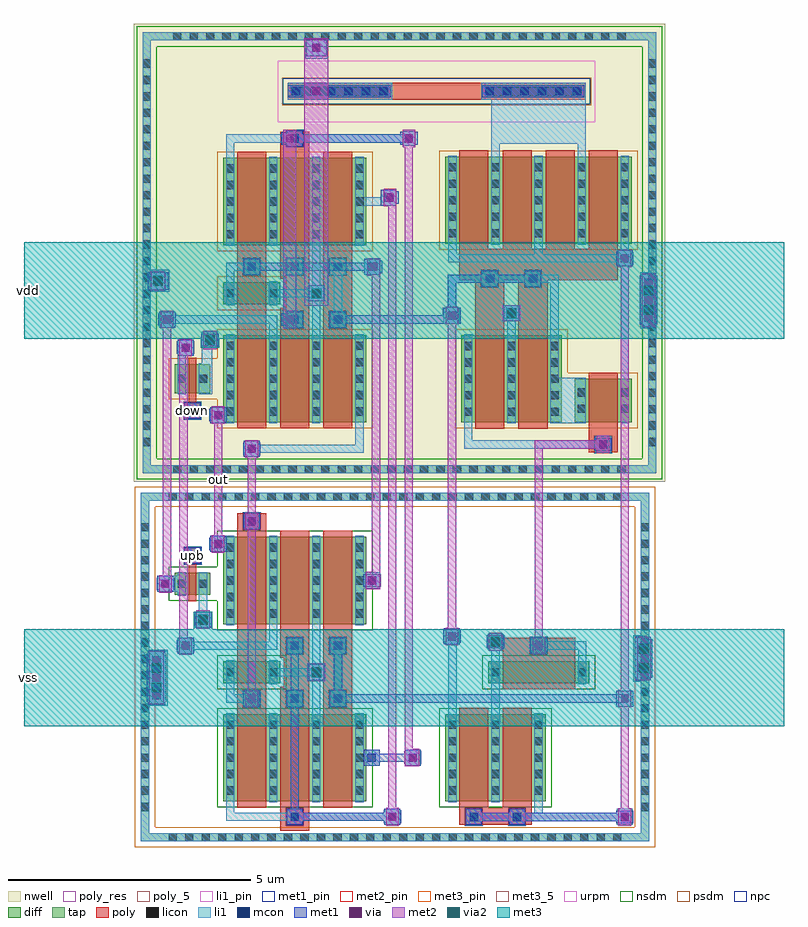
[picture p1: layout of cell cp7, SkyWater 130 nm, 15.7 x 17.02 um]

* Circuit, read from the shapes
.subckt cp7 down out upb vdd vss
XM1 vss upb sky130_fd_pr__nfet_01v8_PU4Y8N_11/d vss sky130_fd_pr__nfet_01v8 w=0.45 l=0.15
XM2 sky130_fd_pr__nfet_01v8_ZJWC73_12/d sky130_fd_pr__nfet_01v8_4NLQMD_5/d sky130_fd_pr__nfet_01v8_ZJWC73_13/d vss sky130_fd_pr__nfet_01v8 w=1.8 l=0.6
XM3 vss sky130_fd_pr__nfet_01v8_4NLQMD_5/d sky130_fd_pr__nfet_01v8_4NLQMD_5/d vss sky130_fd_pr__nfet_01v8 w=0.45 l=0.6
XM4 sky130_fd_pr__nfet_01v8_ZJWC73_15/d sky130_fd_pr__nfet_01v8_4NLQMD_5/d out vss sky130_fd_pr__nfet_01v8 w=1.8 l=0.6
XM5 vss sky130_fd_pr__nfet_01v8_ZJWC73_13/d sky130_fd_pr__nfet_01v8_ZJWC73_12/d vss sky130_fd_pr__nfet_01v8 w=1.8 l=0.6
XM6 vss sky130_fd_pr__nfet_01v8_ZJWC73_13/d sky130_fd_pr__nfet_01v8_ZJWC73_15/d vss sky130_fd_pr__nfet_01v8 w=1.8 l=0.6
XM7 sky130_fd_pr__nfet_01v8_ZJWC73_1/d sky130_fd_pr__nfet_01v8_ZJWC73_1/g vss vss sky130_fd_pr__nfet_01v8 w=1.8 l=0.6
XM8 sky130_fd_pr__nfet_01v8_ZJWC73_2/d sky130_fd_pr__nfet_01v8_ZJWC73_1/g vss vss sky130_fd_pr__nfet_01v8 w=1.8 l=0.6
XM9 vss sky130_fd_pr__nfet_01v8_ZJWC73_1/g sky130_fd_pr__pfet_01v8_AH2TBC_0/g vss sky130_fd_pr__nfet_01v8 w=1.8 l=0.6
XM10 sky130_fd_pr__nfet_01v8_ZJWC73_1/g sky130_fd_pr__nfet_01v8_ZJWC73_1/g vss vss sky130_fd_pr__nfet_01v8 w=1.8 l=0.6
XM11 bias2_16/sky130_fd_pr__nfet_01v8_HE5L4J_2/d bias2_16/sky130_fd_pr__nfet_01v8_HE5L4J_2/d vss vss sky130_fd_pr__nfet_01v8 w=0.45 l=1.5
XM12 vdd down sky130_fd_pr__nfet_01v8_ZJWC73_15/d vdd sky130_fd_pr__pfet_01v8 w=0.6 l=0.15
XM13 sky130_fd_pr__nfet_01v8_PU4Y8N_11/d sky130_fd_pr__nfet_01v8_ZJWC73_2/d out vdd sky130_fd_pr__pfet_01v8 w=1.8 l=0.6
XM14 vdd sky130_fd_pr__nfet_01v8_ZJWC73_2/d sky130_fd_pr__nfet_01v8_ZJWC73_2/d vdd sky130_fd_pr__pfet_01v8 w=0.45 l=0.6
XM15 sky130_fd_pr__pfet_01v8_AH2TBC_7/d sky130_fd_pr__nfet_01v8_ZJWC73_2/d sky130_fd_pr__nfet_01v8_ZJWC73_1/d vdd sky130_fd_pr__pfet_01v8 w=1.8 l=0.6
XM16 vdd sky130_fd_pr__nfet_01v8_ZJWC73_1/d sky130_fd_pr__nfet_01v8_PU4Y8N_11/d vdd sky130_fd_pr__pfet_01v8 w=1.8 l=0.6
XM17 vdd sky130_fd_pr__nfet_01v8_ZJWC73_1/d sky130_fd_pr__pfet_01v8_AH2TBC_7/d vdd sky130_fd_pr__pfet_01v8 w=1.8 l=0.6
XM18 sky130_fd_pr__nfet_01v8_4NLQMD_5/d sky130_fd_pr__pfet_01v8_AH2TBC_0/g vdd vdd sky130_fd_pr__pfet_01v8 w=1.8 l=0.6
XM19 sky130_fd_pr__nfet_01v8_ZJWC73_13/d sky130_fd_pr__pfet_01v8_AH2TBC_0/g vdd vdd sky130_fd_pr__pfet_01v8 w=1.8 l=0.6
XM20 bias2_16/sky130_fd_pr__res_xhigh_po_0p35_QBQWER_0/r0 sky130_fd_pr__pfet_01v8_AH2TBC_0/g sky130_fd_pr__nfet_01v8_ZJWC73_1/g vdd sky130_fd_pr__pfet_01v8 w=1.8 l=0.6 m=4
XM21 vdd sky130_fd_pr__pfet_01v8_AH2TBC_0/g bias2_16/sky130_fd_pr__nfet_01v8_HE5L4J_2/d vdd sky130_fd_pr__pfet_01v8 w=1.8 l=0.6
XM22 sky130_fd_pr__pfet_01v8_AH2TBC_0/g sky130_fd_pr__pfet_01v8_AH2TBC_0/g vdd vdd sky130_fd_pr__pfet_01v8 w=1.8 l=0.6
XM23 sky130_fd_pr__nfet_01v8_ZJWC73_1/g bias2_16/sky130_fd_pr__nfet_01v8_HE5L4J_2/d sky130_fd_pr__pfet_01v8_AH2TBC_0/g vdd sky130_fd_pr__pfet_01v8 w=0.9 l=0.6
XR24 bias2_16/sky130_fd_pr__res_xhigh_po_0p35_QBQWER_0/r0 vdd vss sky130_fd_pr__res_xhigh_po w=0.35 l=1.88
.ends

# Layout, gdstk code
from math import pi, radians
import gdstk
lib = gdstk.Library(unit=1e-6, precision=1e-09)
def R(c, l, rs):  # rectangles x0, y0, x1, y1
    for r in rs: c.add(gdstk.rectangle(r[:2], r[2:], *l))
def A(c, l, x, y, w, h, nx, ny, dx, dy):  # array of equal rectangles
    R(c, l, [(x+i*dx, y+j*dy, x+i*dx+w, y+j*dy+h) for i in range(nx) for j in range(ny)])
nwell = (64, 20)
diff = (65, 20)
tap = (65, 44)
poly_5 = (66, 5)
poly_res = (66, 13)
poly = (66, 20)
licon = (66, 44)
li1_pin = (67, 16)
li1 = (67, 20)
mcon = (67, 44)
met1_pin = (68, 16)
met1 = (68, 20)
via = (68, 44)
met2_pin = (69, 16)
met2 = (69, 20)
via2 = (69, 44)
met3_5 = (70, 5)
met3_pin = (70, 16)
met3 = (70, 20)
urpm = (79, 20)
nsdm = (93, 44)
psdm = (94, 20)
npc = (95, 20)

sky130_fd_pr__pfet_01v8_ = lib.new_cell('sky130_fd_pr__pfet_01v8_AH2TBC')
R(sky130_fd_pr__pfet_01v8_, nwell, [(-0.77,-1.21,0.77,1.21)])
R(sky130_fd_pr__pfet_01v8_, diff, [(-0.59,-0.9,0.59,0.9)])
R(sky130_fd_pr__pfet_01v8_, poly_5, [(-0.3,-0.9,0.3,0.9)])
R(sky130_fd_pr__pfet_01v8_, poly, [(-0.3,-1.03,0.3,1.03)])
A(sky130_fd_pr__pfet_01v8_, licon, -0.53, -0.765, 0.17, 0.17, 1, 5, 0, 0.34)
A(sky130_fd_pr__pfet_01v8_, licon, 0.36, -0.765, 0.17, 0.17, 1, 5, 0, 0.34)
R(sky130_fd_pr__pfet_01v8_, li1, [(-0.53,-0.92,-0.36,0.92), (0.36,-0.92,0.53,0.92)])
R(sky130_fd_pr__pfet_01v8_, psdm, [(-0.715,-1.025,0.715,1.025)])
sky130_fd_pr__pfet_01v8_.add(gdstk.Label('d', (-0.445,0), layer=67, texttype=5))
sky130_fd_pr__pfet_01v8_.add(gdstk.Label('s', (0.445,0), layer=67, texttype=5))
sky130_fd_pr__pfet_01v8_.add(gdstk.Label('g', (0,0), layer=66, texttype=5))

sky130_fd_pr__nfet_01v8_ = lib.new_cell('sky130_fd_pr__nfet_01v8_ZJWC73')
R(sky130_fd_pr__nfet_01v8_, diff, [(-0.59,-0.9,0.59,0.9)])
R(sky130_fd_pr__nfet_01v8_, poly_5, [(-0.3,-0.9,0.3,0.9)])
R(sky130_fd_pr__nfet_01v8_, poly, [(-0.3,-1.03,0.3,1.03)])
A(sky130_fd_pr__nfet_01v8_, licon, -0.53, -0.765, 0.17, 0.17, 1, 5, 0, 0.34)
A(sky130_fd_pr__nfet_01v8_, licon, 0.36, -0.765, 0.17, 0.17, 1, 5, 0, 0.34)
R(sky130_fd_pr__nfet_01v8_, li1, [(-0.53,-0.92,-0.36,0.92), (0.36,-0.92,0.53,0.92)])
R(sky130_fd_pr__nfet_01v8_, nsdm, [(-0.715,-1.025,0.715,1.025)])
sky130_fd_pr__nfet_01v8_.add(gdstk.Label('d', (-0.445,0), layer=67, texttype=5))
sky130_fd_pr__nfet_01v8_.add(gdstk.Label('s', (0.445,0), layer=67, texttype=5))
sky130_fd_pr__nfet_01v8_.add(gdstk.Label('g', (0,0), layer=66, texttype=5))

c_sky130_fd_pr__pfet_01v8_ = lib.new_cell('sky130_fd_pr__pfet_01v8_W2SF2B')
R(c_sky130_fd_pr__pfet_01v8_, nwell, [(-0.77,-0.535,0.77,0.535)])
R(c_sky130_fd_pr__pfet_01v8_, diff, [(-0.59,-0.225,0.59,0.225)])
R(c_sky130_fd_pr__pfet_01v8_, poly_5, [(-0.3,-0.225,0.3,0.225)])
R(c_sky130_fd_pr__pfet_01v8_, poly, [(-0.3,-0.355,0.3,0.355)])
R(c_sky130_fd_pr__pfet_01v8_, licon, [(-0.53,-0.085,-0.36,0.085), (0.36,-0.085,0.53,0.085)])
R(c_sky130_fd_pr__pfet_01v8_, li1, [(-0.53,-0.245,-0.36,0.245), (0.36,-0.245,0.53,0.245)])
R(c_sky130_fd_pr__pfet_01v8_, psdm, [(-0.715,-0.35,0.715,0.35)])
c_sky130_fd_pr__pfet_01v8_.add(gdstk.Label('d', (-0.445,0), layer=67, texttype=5))
c_sky130_fd_pr__pfet_01v8_.add(gdstk.Label('s', (0.445,0), layer=67, texttype=5))
c_sky130_fd_pr__pfet_01v8_.add(gdstk.Label('g', (0,0), layer=66, texttype=5))

c_sky130_fd_pr__nfet_01v8_ = lib.new_cell('sky130_fd_pr__nfet_01v8_4NLQMD')
R(c_sky130_fd_pr__nfet_01v8_, diff, [(-0.59,-0.225,0.59,0.225)])
R(c_sky130_fd_pr__nfet_01v8_, poly_5, [(-0.3,-0.225,0.3,0.225)])
R(c_sky130_fd_pr__nfet_01v8_, poly, [(-0.3,-0.355,0.3,0.355)])
R(c_sky130_fd_pr__nfet_01v8_, licon, [(-0.53,-0.085,-0.36,0.085), (0.36,-0.085,0.53,0.085)])
R(c_sky130_fd_pr__nfet_01v8_, li1, [(-0.53,-0.245,-0.36,0.245), (0.36,-0.245,0.53,0.245)])
R(c_sky130_fd_pr__nfet_01v8_, nsdm, [(-0.715,-0.35,0.715,0.35)])
c_sky130_fd_pr__nfet_01v8_.add(gdstk.Label('d', (-0.445,0), layer=67, texttype=5))
c_sky130_fd_pr__nfet_01v8_.add(gdstk.Label('s', (0.445,0), layer=67, texttype=5))
c_sky130_fd_pr__nfet_01v8_.add(gdstk.Label('g', (0,0), layer=66, texttype=5))

c_sky130_fd_pr__pfet_01v8__ = lib.new_cell('sky130_fd_pr__pfet_01v8_58PGBE')
R(c_sky130_fd_pr__pfet_01v8__, nwell, [(-0.545,-0.61,0.545,0.61)])
R(c_sky130_fd_pr__pfet_01v8__, diff, [(-0.365,-0.3,0.365,0.3)])
R(c_sky130_fd_pr__pfet_01v8__, poly_5, [(-0.075,-0.3,0.075,0.3)])
R(c_sky130_fd_pr__pfet_01v8__, poly, [(-0.075,-0.43,0.075,0.43)])
R(c_sky130_fd_pr__pfet_01v8__, licon, [(-0.305,-0.085,-0.135,0.085), (0.135,-0.085,0.305,0.085)])
R(c_sky130_fd_pr__pfet_01v8__, li1, [(-0.305,-0.32,-0.135,0.32), (0.135,-0.32,0.305,0.32)])
R(c_sky130_fd_pr__pfet_01v8__, psdm, [(-0.49,-0.425,0.49,0.425)])
c_sky130_fd_pr__pfet_01v8__.add(gdstk.Label('d', (-0.22,0), layer=67, texttype=5))
c_sky130_fd_pr__pfet_01v8__.add(gdstk.Label('s', (0.22,0), layer=67, texttype=5))
c_sky130_fd_pr__pfet_01v8__.add(gdstk.Label('g', (0,0), layer=66, texttype=5))

c_sky130_fd_pr__nfet_01v8__ = lib.new_cell('sky130_fd_pr__nfet_01v8_PU4Y8N')
R(c_sky130_fd_pr__nfet_01v8__, diff, [(-0.365,-0.225,0.365,0.225)])
R(c_sky130_fd_pr__nfet_01v8__, poly_5, [(-0.075,-0.225,0.075,0.225)])
R(c_sky130_fd_pr__nfet_01v8__, poly, [(-0.075,-0.355,0.075,0.355)])
R(c_sky130_fd_pr__nfet_01v8__, licon, [(-0.305,-0.085,-0.135,0.085), (0.135,-0.085,0.305,0.085)])
R(c_sky130_fd_pr__nfet_01v8__, li1, [(-0.305,-0.245,-0.135,0.245), (0.135,-0.245,0.305,0.245)])
R(c_sky130_fd_pr__nfet_01v8__, nsdm, [(-0.49,-0.35,0.49,0.35)])
c_sky130_fd_pr__nfet_01v8__.add(gdstk.Label('d', (-0.22,0), layer=67, texttype=5))
c_sky130_fd_pr__nfet_01v8__.add(gdstk.Label('s', (0.22,0), layer=67, texttype=5))
c_sky130_fd_pr__nfet_01v8__.add(gdstk.Label('g', (0,0), layer=66, texttype=5))

sky130_fd_pr__res_xhigh_ = lib.new_cell('sky130_fd_pr__res_xhigh_po_0p35_QBQWER')
R(sky130_fd_pr__res_xhigh_, nwell, [(-0.435,-3.34,0.435,3.34)])
R(sky130_fd_pr__res_xhigh_, poly_res, [(-0.175,-1,0.175,1)])
R(sky130_fd_pr__res_xhigh_, poly, [(-0.175,-3.08,0.175,3.08)])
R(sky130_fd_pr__res_xhigh_, licon, [(-0.095,-3,0.095,-1), (-0.095,1,0.095,3)])
R(sky130_fd_pr__res_xhigh_, li1, [(-0.175,-3.08,0.175,-0.92), (-0.175,0.92,0.175,3.08)])
A(sky130_fd_pr__res_xhigh_, mcon, -0.085, -2.985, 0.17, 0.17, 1, 6, 0, 0.36)
A(sky130_fd_pr__res_xhigh_, mcon, -0.085, 1.01, 0.17, 0.17, 1, 6, 0, 0.36)
R(sky130_fd_pr__res_xhigh_, met1, [(-0.125,-3.05,0.125,-0.945), (-0.125,0.945,0.125,3.05)])
R(sky130_fd_pr__res_xhigh_, urpm, [(-0.635,-3.28,0.635,3.28)])
R(sky130_fd_pr__res_xhigh_, psdm, [(-0.285,-3.19,0.285,3.19)])
R(sky130_fd_pr__res_xhigh_, npc, [(-0.27,-3.175,0.27,3.175)])
sky130_fd_pr__res_xhigh_.add(gdstk.Label('r0', (0,2.905), layer=68, texttype=5))
sky130_fd_pr__res_xhigh_.add(gdstk.Label('r1', (0,-2.905), layer=68, texttype=5))

c_sky130_fd_pr__pfet_01v8___ = lib.new_cell('sky130_fd_pr__pfet_01v8_EP2VBC')
R(c_sky130_fd_pr__pfet_01v8___, nwell, [(-0.77,-0.76,0.77,0.76)])
R(c_sky130_fd_pr__pfet_01v8___, diff, [(-0.59,-0.45,0.59,0.45)])
R(c_sky130_fd_pr__pfet_01v8___, poly_5, [(-0.3,-0.45,0.3,0.45)])
R(c_sky130_fd_pr__pfet_01v8___, poly, [(-0.3,-0.58,0.3,0.58)])
R(c_sky130_fd_pr__pfet_01v8___, licon, [(-0.53,-0.255,-0.36,-0.085), (0.36,-0.255,0.53,-0.085), (-0.53,0.085,-0.36,0.255), (0.36,0.085,0.53,0.255)])
R(c_sky130_fd_pr__pfet_01v8___, li1, [(-0.53,-0.47,-0.36,0.47), (0.36,-0.47,0.53,0.47)])
R(c_sky130_fd_pr__pfet_01v8___, psdm, [(-0.715,-0.575,0.715,0.575)])
c_sky130_fd_pr__pfet_01v8___.add(gdstk.Label('d', (-0.445,0), layer=67, texttype=5))
c_sky130_fd_pr__pfet_01v8___.add(gdstk.Label('s', (0.445,0), layer=67, texttype=5))
c_sky130_fd_pr__pfet_01v8___.add(gdstk.Label('g', (0,0), layer=66, texttype=5))

c_sky130_fd_pr__nfet_01v8___ = lib.new_cell('sky130_fd_pr__nfet_01v8_HE5L4J')
R(c_sky130_fd_pr__nfet_01v8___, diff, [(-1.04,-0.225,1.04,0.225)])
R(c_sky130_fd_pr__nfet_01v8___, poly_5, [(-0.75,-0.225,0.75,0.225)])
R(c_sky130_fd_pr__nfet_01v8___, poly, [(-0.75,-0.355,0.75,0.355)])
R(c_sky130_fd_pr__nfet_01v8___, licon, [(-0.98,-0.085,-0.81,0.085), (0.81,-0.085,0.98,0.085)])
R(c_sky130_fd_pr__nfet_01v8___, li1, [(-0.98,-0.245,-0.81,0.245), (0.81,-0.245,0.98,0.245)])
R(c_sky130_fd_pr__nfet_01v8___, nsdm, [(-1.165,-0.35,1.165,0.35)])
c_sky130_fd_pr__nfet_01v8___.add(gdstk.Label('d', (-0.895,0), layer=67, texttype=5))
c_sky130_fd_pr__nfet_01v8___.add(gdstk.Label('s', (0.895,0), layer=67, texttype=5))
c_sky130_fd_pr__nfet_01v8___.add(gdstk.Label('g', (0,0), layer=66, texttype=5))

c_sky130_fd_pr__pfet_01v8____ = lib.new_cell('sky130_fd_pr__pfet_01v8_AH6ZBC')
R(c_sky130_fd_pr__pfet_01v8____, nwell, [(-2.105,-1.21,2.105,1.21)])
R(c_sky130_fd_pr__pfet_01v8____, diff, [(-1.925,-0.9,1.925,0.9)])
A(c_sky130_fd_pr__pfet_01v8____, poly_5, -1.635, -0.9, 0.6, 1.8, 4, 1, 0.89, 0)
A(c_sky130_fd_pr__pfet_01v8____, poly, -1.635, -1.03, 0.6, 2.06, 4, 1, 0.89, 0)
A(c_sky130_fd_pr__pfet_01v8____, licon, -1.865, -0.765, 0.17, 0.17, 5, 5, 0.89, 0.34)
A(c_sky130_fd_pr__pfet_01v8____, li1, -1.865, -0.92, 0.17, 1.84, 5, 1, 0.89, 0)
R(c_sky130_fd_pr__pfet_01v8____, psdm, [(-2.05,-1.025,2.05,1.025)])
c_sky130_fd_pr__pfet_01v8____.add(gdstk.Label('d', (-1.78,0), layer=67, texttype=5))
c_sky130_fd_pr__pfet_01v8____.add(gdstk.Label('g', (-1.335,0), layer=66, texttype=5))
c_sky130_fd_pr__pfet_01v8____.add(gdstk.Label('s', (-0.89,0), layer=67, texttype=5))
c_sky130_fd_pr__pfet_01v8____.add(gdstk.Label('g', (-0.445,0), layer=66, texttype=5))
c_sky130_fd_pr__pfet_01v8____.add(gdstk.Label('d', (0,0), layer=67, texttype=5))
c_sky130_fd_pr__pfet_01v8____.add(gdstk.Label('g', (0.445,0), layer=66, texttype=5))
c_sky130_fd_pr__pfet_01v8____.add(gdstk.Label('d', (1.78,0), layer=67, texttype=5))
c_sky130_fd_pr__pfet_01v8____.add(gdstk.Label('s', (0.89,0), layer=67, texttype=5))
c_sky130_fd_pr__pfet_01v8____.add(gdstk.Label('g', (1.335,0), layer=66, texttype=5))

bias2 = lib.new_cell('bias2')
A(bias2, poly, -0.7, 5.2, 0.6, 2.03, 4, 1, 0.89, 0)
R(bias2, poly, [(-0.7,-6.705,0.79,-6.345), (-0.7,-6.345,-0.1,-4.415), (0.19,-6.345,0.79,-4.415), (0.19,-3.905,1.69,-2.835), (1.97,0.99,2.57,2.51), (-0.37,1.48,0.23,4.545), (0.52,1.61,1.12,4.545), (-0.7,4.545,2.57,5.2)])
R(bias2, licon, [(-0.485,-6.625,-0.315,-6.455), (0.405,-6.625,0.575,-6.455), (0.855,-3.085,1.025,-2.915), (2.185,1.07,2.355,1.24), (-0.155,4.495,0.015,4.665), (0.735,4.495,0.905,4.665)])
R(bias2, li1_pin, [(-0.04,-3.55,0.13,-3.38)])
R(bias2, li1, [(-0.565,-6.705,-0.235,-6.625), (0.325,-6.705,0.655,-6.625), (-0.565,-6.625,2.8,-6.455), (-0.565,-6.455,-0.235,-6.375), (0.325,-6.455,0.655,-6.375), (0.85,-6.455,1.02,-4.475), (-0.93,-6.235,-0.76,-2.975), (-0.04,-6.235,0.13,-3.305), (1.75,-3.795,1.92,-3.085), (0.775,-3.165,1.105,-3.085), (0.775,-3.085,1.92,-2.915), (-1.02,-2.975,-0.69,-2.645), (0.775,-2.915,1.105,-2.835), (2.105,0.99,2.435,1.07), (-0.6,1.07,2.435,1.24), (-0.6,1.24,-0.43,3.43), (2.105,1.24,2.435,1.32), (1.18,1.59,1.91,2.53), (0.29,1.67,0.46,3.35), (2.63,1.67,2.8,4.835), (1.18,2.53,1.35,4.495), (-1.02,3.65,-0.69,3.98), (-0.94,3.98,-0.77,4.495), (-0.235,4.415,0.095,4.495), (0.655,4.415,0.985,4.495), (-0.94,4.495,1.35,4.665), (-0.235,4.665,0.095,4.745), (0.655,4.665,0.985,4.745), (2.55,4.835,2.88,4.915), (-0.93,4.915,2.88,5.085), (-0.93,5.085,-0.76,7.12), (0.85,5.085,1.02,7.12), (2.55,5.085,2.88,5.165), (2.63,5.165,2.8,7.12), (-0.04,5.28,0.13,7.37), (1.74,5.28,1.91,7.37), (-0.04,7.37,1.91,8.275), (-0.25,8.275,1.91,8.625)])
R(bias2, mcon, [(2.63,-6.625,2.8,-6.455), (0.855,-3.085,1.025,-2.915), (-0.94,-2.895,-0.77,-2.725), (2.185,1.07,2.355,1.24), (-0.94,3.73,-0.77,3.9), (2.63,4.915,2.8,5.085)])
R(bias2, met1_pin, [(2.535,-4.18,2.705,-4.01), (-0.965,3.85,-0.795,3.855), (-4.25,8.355,-4.08,8.525)])
R(bias2, met1, [(2.535,-6.67,2.895,-6.41), (2.535,-4.18,2.705,-4.01), (0.775,-3.165,1.105,-3.13), (0.76,-3.13,1.12,-2.87), (-1.02,-2.975,-0.69,-2.94), (-1.035,-2.94,-0.675,-2.68), (0.775,-2.87,1.105,-2.835), (-1.02,-2.68,-0.69,-2.645), (2.09,1.025,2.45,1.285), (-1.02,3.65,-0.69,3.685), (-1.035,3.685,-0.675,3.98), (2.55,4.835,2.88,4.87), (2.535,4.87,2.895,5.13), (2.55,5.13,2.88,5.165), (-4.25,8.355,-4.08,8.525)])
R(bias2, via, [(2.64,-6.615,2.79,-6.465), (0.865,-3.075,1.015,-2.925), (-0.93,-2.885,-0.78,-2.735), (2.195,1.08,2.345,1.23), (-0.93,3.74,-0.78,3.89), (2.64,4.925,2.79,5.075)])
R(bias2, met2, [(2.585,-6.72,2.845,-6.36), (2.63,-6.36,2.8,4.82), (0.81,-3.18,1.07,-2.82), (-0.985,-2.99,-0.725,-2.63), (0.855,-2.82,1.025,1.07), (-0.94,-2.63,-0.77,3.635), (2.14,0.975,2.4,1.07), (0.855,1.07,2.4,1.24), (2.14,1.24,2.4,1.335), (-0.985,3.635,-0.725,3.995), (2.585,4.82,2.845,5.18)])
R(bias2, psdm, [(1.535,1.485,1.555,2.635)])
R(bias2, npc, [(-0.585,-6.725,-0.215,-6.355), (0.305,-6.725,0.675,-6.355), (0.755,-3.185,1.125,-2.815), (2.085,0.97,2.455,1.34), (-0.255,4.395,0.115,4.765), (0.635,4.395,1.005,4.765)])
bias2.add(gdstk.Reference(sky130_fd_pr__res_xhigh_, (-1.17,8.45), rotation=3*pi/2))
bias2.add(gdstk.Reference(c_sky130_fd_pr__pfet_01v8___, (2.27,2.06), rotation=pi, x_reflection=True))
bias2.add(gdstk.Reference(c_sky130_fd_pr__nfet_01v8___, (0.94,-3.55), rotation=pi, x_reflection=True))
bias2.add(gdstk.Reference(sky130_fd_pr__pfet_01v8_, (-0.07,2.51), x_reflection=True))
bias2.add(gdstk.Reference(c_sky130_fd_pr__pfet_01v8____, (0.935,6.2)))
bias2.add(gdstk.Reference(sky130_fd_pr__pfet_01v8_, (0.82,2.51), rotation=pi, x_reflection=True))
bias2.add(gdstk.Reference(sky130_fd_pr__nfet_01v8_, (0.49,-5.315), rotation=pi, x_reflection=True))
bias2.add(gdstk.Reference(sky130_fd_pr__nfet_01v8_, (-0.4,-5.315)))
bias2.add(gdstk.Label('vdd', (-4.165,8.44), layer=68, texttype=5))
bias2.add(gdstk.Label('vpb', (-0.88,3.852), layer=68, texttype=5))
bias2.add(gdstk.Label('vss', (0.045,-3.465), layer=67, texttype=5))
bias2.add(gdstk.Label('vnb', (2.62,-4.095), layer=68, texttype=5))

cp7 = lib.new_cell('cp7')
R(cp7, nwell, [(-2.73,3.545,8.245,13.015)])
R(cp7, tap, [(-2.585,-3.88,7.915,-3.71), (-2.585,-3.71,-2.415,3.155), (7.745,-3.71,7.915,3.155), (-2.585,3.155,7.915,3.325), (-2.55,3.725,8.065,3.895), (-2.55,3.895,-2.38,12.665), (7.895,3.895,8.065,12.665), (-2.55,12.665,8.065,12.835)])
R(cp7, poly, [(0.295,-3.655,0.895,-0.685), (-0.595,-3.18,0.005,2.895), (1.185,-3.05,1.785,2.41), (0.37,-0.685,0.895,-0.085), (0.295,-0.085,0.895,2.41), (-1.595,1.215,-1.445,1.855), (-1.675,1.855,-1.345,2.185), (-0.595,4.65,0.005,10.24), (0.295,4.65,0.895,7.145), (1.185,4.78,1.785,10.24), (-1.685,4.85,-1.355,5.18), (-1.595,5.18,-1.445,5.98), (0.37,7.145,0.895,7.745), (0.295,7.745,0.895,10.78)])
A(cp7, licon, -2.01, -3.88, 0.17, 0.17, 28, 2, 0.34, 7.035)
A(cp7, licon, -2.585, -3.255, 0.17, 0.17, 1, 18, 0, 0.34)
A(cp7, licon, 7.745, -3.255, 0.17, 0.17, 1, 18, 0, 0.34)
A(cp7, licon, -0.38, -1.015, 0.17, 0.17, 3, 2, 0.89, 8.92)
A(cp7, licon, -1.92, 3.725, 0.17, 0.17, 28, 2, 0.34, 8.94)
A(cp7, licon, -2.55, 4.285, 0.17, 0.17, 1, 24, 0, 0.34)
A(cp7, licon, 7.895, 4.285, 0.17, 0.17, 1, 24, 0, 0.34)
R(cp7, licon, [(0.51,-3.455,0.68,-3.285), (0.51,0.075,0.68,0.245), (1.4,0.075,1.57,0.245), (-1.595,1.935,-1.425,2.105), (-0.38,2.645,-0.21,2.815), (-1.605,4.93,-1.435,5.1), (0.51,6.815,0.68,6.985), (1.4,6.815,1.57,6.985), (0.51,10.555,0.68,10.725)])
R(cp7, li1, [(-2.585,-3.88,7.915,-3.71), (-2.585,-3.71,-2.415,-1.08), (7.745,-3.71,7.915,-0.58), (7.245,-3.54,7.575,-3.21), (0.43,-3.535,0.76,-3.455), (2.445,-3.535,2.775,-3.455), (4.21,-3.46,4.38,-3.29), (5.1,-3.46,5.27,-3.29), (-0.825,-3.455,2.775,-3.285), (-0.825,-3.285,-0.655,-1.31), (0.43,-3.285,0.76,-3.205), (2.445,-3.285,2.775,-3.205), (1.845,-3.07,2.015,-2.315), (0.065,-2.99,0.235,-1.31), (0.955,-2.99,1.125,-0.47), (1.845,-2.315,2.345,-1.985), (2.865,-2.315,3.195,-1.985), (1.845,-1.985,2.015,-1.23), (-0.46,-1.095,-0.13,-1.015), (0.43,-1.095,0.76,-0.765), (1.32,-1.095,1.65,-0.765), (-2.585,-1.08,-2.035,0.08), (-0.825,-1.015,-0.13,-0.845), (-0.825,-0.845,-0.655,-0.22), (-0.46,-0.845,-0.13,-0.765), (1.4,-0.765,1.57,-0.005), (7.585,-0.58,7.915,0.38), (0.065,-0.55,0.235,-0.47), (4.655,-0.55,4.825,0.08), (0.065,-0.47,1.125,-0.3), (0.065,-0.3,0.235,-0.22), (0.955,-0.3,1.125,2.35), (-1.825,-0.005,-1.495,0.075), (0.43,-0.005,0.76,0.325), (1.32,-0.005,1.65,0.325), (-1.825,0.075,0.235,0.245), (-2.585,0.08,-2.415,3.155), (4.575,0.08,4.905,0.41), (-1.825,0.245,-1.495,0.325), (0.065,0.245,0.235,2.35), (7.745,0.38,7.915,3.155), (-1.465,0.535,-1.135,0.865), (1.845,0.59,2.015,1.345), (-0.825,0.67,-0.655,2.1), (-1.385,0.865,-1.215,1.685), (-2.245,1.275,-1.655,1.605), (1.845,1.345,2.355,1.675), (1.845,1.675,2.015,2.43), (-1.675,1.855,-1.345,2.185), (-1.155,2.1,-0.655,2.43), (-0.46,2.565,-0.13,2.895), (-2.585,3.155,7.915,3.325), (-2.55,3.725,8.065,3.895), (-2.55,3.895,-2.38,7.47), (7.895,3.895,8.065,6.72), (-0.46,4.065,-0.13,4.145), (-0.46,4.145,2.015,4.315), (-0.46,4.315,-0.13,4.395), (1.845,4.315,2.015,6.6), (-1.155,4.76,-0.655,5.09), (0.065,4.84,0.235,6.815), (0.955,4.84,1.125,7.275), (-1.685,4.85,-1.355,5.18), (-0.825,5.09,-0.655,6.52), (-1.325,5.36,-1.11,6.315), (-1.825,5.44,-1.655,6.155), (-1.825,6.155,-1.495,6.485), (-1.325,6.315,-0.995,6.645), (4.985,6.595,5.155,6.865), (7.735,6.72,8.065,7.88), (-2.21,6.735,-1.88,6.815), (0.43,6.735,0.76,7.065), (1.32,6.735,1.65,7.065), (-2.21,6.815,0.235,6.985), (4.905,6.865,5.235,7.195), (-2.21,6.985,-1.88,7.065), (1.4,7.065,1.57,7.825), (0.875,7.275,1.205,7.36), (-0.825,7.28,-0.655,7.905), (0.065,7.28,0.235,7.36), (0.065,7.36,1.205,7.53), (-2.55,7.47,-2,7.93), (0.065,7.53,0.235,7.61), (0.875,7.53,1.205,7.605), (0.955,7.605,1.125,10.18), (4.54,7.66,4.71,7.83), (5.43,7.66,5.6,7.83), (-0.46,7.825,-0.13,7.905), (0.43,7.825,0.76,8.155), (1.32,7.825,1.65,8.155), (2.025,7.825,2.355,8.155), (7.895,7.88,8.065,12.665), (-0.825,7.905,-0.13,8.075), (-2.55,7.93,-2.38,12.665), (-0.46,8.075,-0.13,8.155), (-0.825,8.5,-0.655,10.555), (0.065,8.5,0.235,10.18), (1.845,8.5,2.015,9.255), (1.845,9.255,2.695,9.425), (1.845,9.425,2.015,10.18), (2.365,9.425,2.695,9.585), (0.43,10.475,0.76,10.555), (-0.825,10.555,3.035,10.725), (0.43,10.725,3.035,10.73), (0.43,10.73,0.76,10.805), (0.81,12.285,1.27,12.665), (-2.55,12.665,8.065,12.835)])
A(cp7, mcon, -0.38, -1.015, 0.17, 0.17, 3, 1, 0.89, 0)
A(cp7, mcon, -2.35, -0.945, 0.17, 0.17, 1, 3, 0, 0.36)
A(cp7, mcon, 7.815, 6.855, 0.17, 0.17, 1, 3, 0, 0.36)
R(cp7, mcon, [(4.21,-3.46,4.38,-3.29), (5.1,-3.46,5.27,-3.29), (0.51,-3.455,0.68,-3.285), (2.525,-3.455,2.695,-3.285), (2.095,-2.235,2.265,-2.065), (2.945,-2.235,3.115,-2.065), (0.955,-0.47,1.125,-0.3), (7.665,-0.365,7.835,-0.195), (7.665,-0.005,7.835,0.165), (-1.745,0.075,-1.575,0.245), (0.51,0.075,0.68,0.245), (1.4,0.075,1.57,0.245), (4.655,0.16,4.825,0.33), (-1.385,0.615,-1.215,0.785), (-2.165,1.355,-1.995,1.525), (2.105,1.425,2.275,1.595), (-1.595,1.935,-1.425,2.105), (-1.075,2.18,-0.905,2.35), (-0.38,2.645,-0.21,2.815), (-0.38,4.145,-0.21,4.315), (-1.075,4.84,-0.905,5.01), (-1.605,4.93,-1.435,5.1), (-1.745,6.235,-1.575,6.405), (-1.245,6.395,-1.075,6.565), (-2.13,6.815,-1.96,6.985), (0.51,6.815,0.68,6.985), (1.4,6.815,1.57,6.985), (4.985,6.945,5.155,7.115), (0.955,7.355,1.125,7.525), (-2.315,7.615,-2.145,7.785), (4.54,7.66,4.71,7.83), (5.43,7.66,5.6,7.83), (-0.38,7.905,-0.21,8.075), (2.105,7.905,2.275,8.075), (2.445,9.335,2.615,9.505), (0.51,10.555,0.68,10.725), (2.865,10.555,3.035,10.725), (0.955,12.43,1.125,12.6)])
R(cp7, met1_pin, [(-1.595,1.935,-1.425,2.105), (-1.605,4.93,-1.435,5.1)])
R(cp7, met1, [(4.13,-3.54,4.46,-3.46), (5.02,-3.54,5.35,-3.46), (0.43,-3.535,0.76,-3.455), (2.445,-3.535,2.775,-3.505), (2.43,-3.505,2.79,-3.455), (4.13,-3.46,7.495,-3.29), (0.43,-3.455,2.79,-3.285), (4.13,-3.29,4.46,-3.21), (5.02,-3.29,5.35,-3.21), (0.43,-3.285,0.76,-3.205), (2.43,-3.285,2.79,-3.24), (2.445,-3.24,2.775,-3.205), (0.51,-3.205,0.68,-1.095), (2.015,-2.315,2.345,-2.235), (2.865,-2.315,3.195,-2.28), (2.85,-2.28,3.21,-2.235), (2.015,-2.235,3.21,-2.065), (2.015,-2.065,2.345,-1.985), (2.85,-2.065,3.21,-2.02), (2.865,-2.02,3.195,-1.985), (-0.46,-1.095,-0.13,-1.06), (0.43,-1.095,0.76,-0.765), (1.32,-1.095,1.65,-1.015), (7.23,-1.095,7.59,-1.015), (-2.445,-1.06,-2.085,-1), (-0.475,-1.06,-0.115,-0.8), (1.32,-1.015,7.59,-0.845), (-2.465,-1,-2.065,0), (1.32,-0.845,1.65,-0.765), (7.23,-0.845,7.59,-0.765), (-0.46,-0.8,-0.13,-0.765), (0.51,-0.765,0.68,-0.005), (1.4,-0.765,1.57,-0.005), (7.635,-0.56,7.865,-0.5), (0.875,-0.55,1.205,-0.22), (7.615,-0.5,7.975,0.3), (-1.825,-0.005,-1.495,0.03), (0.43,-0.005,0.76,0.325), (1.32,-0.005,1.65,0.325), (-2.445,0,-2.085,0.06), (-1.84,0.03,-1.48,0.29), (4.56,0.115,4.92,0.375), (-1.825,0.29,-1.495,0.325), (7.635,0.3,7.865,0.36), (-1.465,0.535,-1.135,0.57), (-1.48,0.57,-1.12,0.83), (-1.465,0.83,-1.135,0.865), (-2.245,1.275,-1.915,1.31), (-2.26,1.31,-1.9,1.57), (2.01,1.38,2.37,1.64), (-2.245,1.57,-1.915,1.605), (-1.675,1.855,-1.345,2.185), (-1.155,2.1,-0.825,2.135), (-1.17,2.135,-0.81,2.395), (-1.155,2.395,-0.825,2.43), (-0.46,2.565,-0.13,2.6), (-0.475,2.6,-0.115,2.86), (-0.46,2.86,-0.13,2.895), (-0.46,4.065,-0.13,4.1), (-0.475,4.1,-0.115,4.36), (-0.46,4.36,-0.13,4.395), (-1.155,4.76,-0.825,4.795), (-1.17,4.795,-0.81,5.055), (-1.685,4.85,-1.355,5.18), (-1.155,5.055,-0.825,5.09), (-1.825,6.155,-1.495,6.19), (-1.84,6.19,-1.48,6.45), (-1.34,6.35,-0.98,6.61), (-1.825,6.45,-1.495,6.485), (-2.21,6.735,-1.88,6.77), (0.43,6.735,0.76,6.77), (1.32,6.735,1.65,6.815), (7.785,6.74,8.015,6.8), (-2.225,6.77,-1.865,7.03), (0.31,6.77,0.76,7.03), (7.72,6.8,8.08,7.8), (1.32,6.815,4.02,6.985), (4.905,6.865,5.235,7.195), (1.32,6.985,1.65,7.065), (3.655,6.985,4.02,7.145), (-2.21,7.03,-1.88,7.065), (0.43,7.03,0.76,7.065), (3.755,7.145,3.925,7.66), (0.875,7.275,1.205,7.605), (-2.44,7.52,-2.02,7.88), (4.46,7.58,4.79,7.66), (5.35,7.58,5.68,7.66), (3.755,7.66,5.68,7.83), (7.785,7.8,8.015,7.86), (-0.46,7.825,-0.13,7.905), (2.025,7.825,2.355,7.86), (4.46,7.83,4.79,7.91), (5.35,7.83,5.68,7.91), (2.025,7.86,2.405,7.905), (-0.46,7.905,2.405,8.075), (-0.46,8.075,-0.13,8.155), (2.025,8.075,2.405,8.12), (2.025,8.12,2.355,8.155), (2.365,9.255,2.695,9.29), (2.365,9.29,2.745,9.55), (2.365,9.55,2.695,9.585), (0.43,10.475,0.76,10.51), (2.835,10.495,3.065,10.51), (0.31,10.51,0.76,10.555), (2.77,10.51,3.13,10.555), (0.31,10.555,3.13,10.73), (0.31,10.73,0.76,10.77), (2.77,10.73,3.13,10.775), (0.43,10.77,0.76,10.805), (2.835,10.775,3.065,10.79), (0.79,11.44,1.29,11.49), (0.445,11.49,1.29,11.74), (0.79,11.74,1.29,11.79), (0.83,12.335,1.25,12.695)])
A(cp7, via, -2.34, -0.895, 0.15, 0.15, 1, 3, 0, 0.32)
A(cp7, via, 7.825, 6.905, 0.15, 0.15, 1, 3, 0, 0.32)
R(cp7, via, [(2.535,-3.45,2.685,-3.3), (2.955,-2.225,3.105,-2.075), (-0.37,-1.005,-0.22,-0.855), (7.335,-1.005,7.485,-0.855), (0.965,-0.46,1.115,-0.31), (7.72,-0.335,7.87,-0.185), (7.72,-0.015,7.87,0.135), (-1.735,0.085,-1.585,0.235), (4.665,0.17,4.815,0.32), (-1.375,0.625,-1.225,0.775), (-2.155,1.365,-2.005,1.515), (2.115,1.435,2.265,1.585), (-1.065,2.19,-0.915,2.34), (-0.37,2.655,-0.22,2.805), (-0.37,4.155,-0.22,4.305), (-1.065,4.85,-0.915,5), (-1.735,6.245,-1.585,6.395), (-1.235,6.405,-1.085,6.555), (-2.12,6.825,-1.97,6.975), (0.415,6.825,0.565,6.975), (4.995,6.955,5.145,7.105), (0.965,7.365,1.115,7.515), (-2.305,7.625,-2.155,7.775), (2.15,7.915,2.3,8.065), (2.49,9.345,2.64,9.495), (0.415,10.565,0.565,10.715), (2.875,10.565,3.025,10.715), (0.965,11.54,1.115,11.69), (0.965,12.44,1.115,12.59)])
R(cp7, met2_pin, [(-1.075,3.51,-0.905,3.68)])
R(cp7, met2, [(2.48,-3.555,2.74,-3.19), (2.525,-3.19,2.695,9.24), (2.865,-2.33,3.16,-1.97), (2.865,-1.97,3.035,10.46), (-0.425,-1.11,-0.165,-0.75), (7.28,-1.11,7.54,-0.75), (-2.415,-1.05,-2.115,0.05), (-0.38,-0.75,-0.21,2.55), (0.855,-0.57,1.225,-0.2), (7.665,-0.55,7.945,0.35), (-1.79,-0.02,-1.53,0.34), (4.6,0.055,4.88,0.435), (-1.79,0.34,-1.62,6.14), (-1.44,0.51,-1.16,0.89), (-2.21,1.26,-1.95,1.62), (2.06,1.33,2.355,1.69), (-2.13,1.62,-1.96,6.72), (2.185,1.69,2.355,7.81), (-1.12,2.085,-0.86,2.445), (-1.075,2.445,-0.905,4.745), (-0.425,2.55,-0.165,2.91), (-0.38,2.91,-0.21,4.05), (-0.425,4.05,-0.165,4.41), (-1.12,4.745,-0.86,5.105), (-1.79,6.14,-1.53,6.5), (-1.3,6.29,-1.02,6.67), (-2.175,6.72,-1.915,7.08), (0.36,6.72,0.62,10.82), (7.76,6.75,8.04,7.85), (4.885,6.865,5.255,7.195), (0.79,7.19,1.29,12.715), (-2.38,7.5,-2.08,7.9), (2.095,7.81,2.355,8.17), (2.435,9.24,2.695,9.6), (2.82,10.46,3.08,10.825)])
R(cp7, via2, [(-2.365,-0.8,-2.165,-0.6), (0.94,-0.485,1.14,-0.285), (-2.365,-0.4,-2.165,-0.2), (7.705,-0.4,7.905,-0.2), (7.705,0,7.905,0.2), (4.64,0.145,4.84,0.345), (-1.4,0.6,-1.2,0.8), (-1.26,6.38,-1.06,6.58), (4.97,6.93,5.17,7.13), (7.8,7,8,7.2), (0.94,7.34,1.14,7.54), (7.8,7.4,8,7.6), (-2.33,7.6,-2.13,7.8)])
R(cp7, met3_5, [(-5,7.41,-4.83,7.59)])
R(cp7, met3_pin, [(-5,-0.59,-4.83,-0.41)])
R(cp7, met3, [(-5,-1.5,10.7,0.5), (-1.49,0.5,-1.11,0.865), (-1.35,6.315,-0.97,6.5), (-5,6.5,10.7,8.5)])
R(cp7, nsdm, [(-1.03,1.09,-1.01,1.79), (-2.675,3.6,8.19,4.02), (-2.675,4.02,-2.255,12.54), (7.77,4.02,8.19,12.54), (-2.675,12.54,8.19,12.96)])
R(cp7, psdm, [(-2.71,-4.005,8.04,-3.585), (-2.71,-3.585,-2.29,3.03), (7.62,-3.585,8.04,3.03), (-2.71,3.03,8.04,3.45), (-1.03,5.255,-1.01,6.105)])
A(cp7, npc, -0.48, -1.115, 0.37, 0.37, 3, 2, 0.89, 8.92)
R(cp7, npc, [(0.41,-3.555,0.78,-3.185), (0.41,-0.025,0.78,0.345), (1.3,-0.025,1.67,0.345), (-1.695,1.835,-1.325,2.205), (-0.48,2.545,-0.11,2.915), (-1.705,4.83,-1.335,5.2), (0.41,6.715,0.78,7.085), (1.3,6.715,1.67,7.085), (0.41,10.455,0.78,10.825)])
cp7.add(gdstk.Reference(sky130_fd_pr__pfet_01v8_, (1.485,9.34), rotation=pi, x_reflection=True))
cp7.add(gdstk.Reference(sky130_fd_pr__nfet_01v8_, (1.485,-2.15), rotation=pi, x_reflection=True))
cp7.add(gdstk.Reference(sky130_fd_pr__nfet_01v8_, (1.485,1.51), rotation=pi, x_reflection=True))
cp7.add(gdstk.Reference(sky130_fd_pr__pfet_01v8_, (1.485,5.68), rotation=pi, x_reflection=True))
cp7.add(gdstk.Reference(c_sky130_fd_pr__pfet_01v8_, (-0.295,7.445)))
cp7.add(gdstk.Reference(c_sky130_fd_pr__nfet_01v8_, (-0.295,-0.385)))
cp7.add(gdstk.Reference(c_sky130_fd_pr__pfet_01v8__, (-1.52,5.68)))
cp7.add(gdstk.Reference(sky130_fd_pr__pfet_01v8_, (0.595,9.34)))
cp7.add(gdstk.Reference(sky130_fd_pr__pfet_01v8_, (-0.295,5.68)))
cp7.add(gdstk.Reference(sky130_fd_pr__pfet_01v8_, (-0.295,9.34)))
cp7.add(gdstk.Reference(sky130_fd_pr__pfet_01v8_, (0.595,5.68)))
cp7.add(gdstk.Reference(c_sky130_fd_pr__nfet_01v8__, (-1.52,1.44)))
cp7.add(gdstk.Reference(sky130_fd_pr__nfet_01v8_, (0.595,-2.15), x_reflection=True))
cp7.add(gdstk.Reference(sky130_fd_pr__nfet_01v8_, (-0.295,-2.15), x_reflection=True))
cp7.add(gdstk.Reference(sky130_fd_pr__nfet_01v8_, (-0.295,1.51), x_reflection=True))
cp7.add(gdstk.Reference(sky130_fd_pr__nfet_01v8_, (0.595,1.51), x_reflection=True))
cp7.add(gdstk.Reference(bias2, (4.695,3.165)))
cp7.add(gdstk.Label('vdd', (-4.915,7.5), layer=70, texttype=5))
cp7.add(gdstk.Label('vss', (-4.915,-0.5), layer=70, texttype=5))
cp7.add(gdstk.Label('upb', (-1.51,2.02), layer=68, texttype=5))
cp7.add(gdstk.Label('down', (-1.52,5.015), layer=68, texttype=5))
cp7.add(gdstk.Label('out', (-0.99,3.595), layer=69, texttype=5))

lib.write_gds('cp7.gds')
